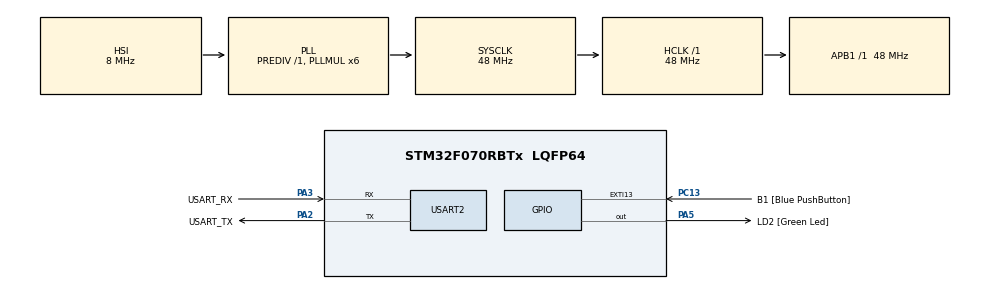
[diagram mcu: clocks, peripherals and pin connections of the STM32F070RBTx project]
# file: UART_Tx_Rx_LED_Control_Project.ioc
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Mcu.Family=STM32F0
Mcu.Name=STM32F070RBTx
Mcu.Package=LQFP64
NVIC.USART2_IRQn=true\:0\:0\:false\:false\:true\:true\:true\:true
PA13.GPIO_Label=TMS
PA13.Mode=Serial_Wire
PA13.Signal=SYS_SWDIO
PA14.GPIO_Label=TCK
PA14.Mode=Serial_Wire
PA14.Signal=SYS_SWCLK
PA2.GPIO_Label=USART_TX
PA2.Mode=Asynchronous
PA2.Signal=USART2_TX
PA3.GPIO_Label=USART_RX
PA3.Mode=Asynchronous
PA3.Signal=USART2_RX
PA5.GPIO_Label=LD2 [Green Led]
PA5.Signal=GPIO_Output
PC13.GPIO_Label=B1 [Blue PushButton]
PC13.GPIO_ModeDefaultEXTI=GPIO_MODE_IT_FALLING
PC13.Signal=GPXTI13
PC14-OSC32_IN.GPIO_Label=RCC_OSC32_IN
PC14-OSC32_IN.Mode=LSE-External-Oscillator
PC14-OSC32_IN.Signal=RCC_OSC32_IN
PC15-OSC32_OUT.GPIO_Label=RCC_OSC32_OUT
PC15-OSC32_OUT.Mode=LSE-External-Oscillator
PC15-OSC32_OUT.Signal=RCC_OSC32_OUT
PF0-OSC_IN.GPIO_Label=RCC_OSC_IN
PF0-OSC_IN.Mode=HSE-External-Clock-Source
PF0-OSC_IN.Signal=RCC_OSC_IN
PF1-OSC_OUT.GPIO_Label=RCC_OSC_OUT
PF1-OSC_OUT.Signal=RCC_OSC_OUT
ProjectManager.HeapSize=0x200
ProjectManager.StackSize=0x400
ProjectManager.TargetToolchain=STM32CubeIDE
RCC.AHBFreq_Value=48000000
RCC.APB1Freq_Value=48000000
RCC.APB1TimFreq_Value=48000000
RCC.HCLKFreq_Value=48000000
RCC.PLLMUL=RCC_PLL_MUL6
RCC.SYSCLKFreq_VALUE=48000000
RCC.SYSCLKSource=RCC_SYSCLKSOURCE_PLLCLK
USART2.VirtualMode-Asynchronous=VM_ASYNC
board=NUCLEO-F070RB

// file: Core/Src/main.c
/* USER CODE BEGIN Header */
/**
  ******************************************************************************
  * @file           : main.c
  * @brief          : Main program body
  ******************************************************************************
  * @attention
  *
  * Copyright (c) 2024 STMicroelectronics.
  * All rights reserved.
  *
  * This software is licensed under terms that can be found in the LICENSE file
  * in the root directory of this software component.
  * If no LICENSE file comes with this software, it is provided AS-IS.
  *
  ******************************************************************************
  */
/* USER CODE END Header */
#include "main.h"

/* USER CODE BEGIN Includes */
#include <string.h>

/* USER CODE END Includes */

/* USER CODE BEGIN PD */
uint8_t tx_buffer[30]="Hi idiot\n\r";
uint8_t rx_index;
uint8_t rx_data[1];
uint8_t rx_buffer[100]={0};
/* USER CODE END PD */

UART_HandleTypeDef huart2;

void SystemClock_Config(void);
static void MX_GPIO_Init(void);
static void MX_USART2_UART_Init(void);

int main(void)
{

  /* MCU Configuration--------------------------------------------------------*/

  /* Reset of all peripherals, Initializes the Flash interface and the Systick. */
  HAL_Init();

  /* Configure the system clock */
  SystemClock_Config();

  /* Initialize all configured peripherals */
  MX_GPIO_Init();
  MX_USART2_UART_Init();
  /* USER CODE BEGIN 2 */
  HAL_UART_Receive_IT(&huart2,rx_data,1);

  /* USER CODE END 2 */

  /* Infinite loop */
  while (1)
  {
//	  HAL_UART_Transmit(&huart2, tx_buffer, sizeof(tx_buffer),10);
//	  HAL_Delay(1000);

  }
}

void SystemClock_Config(void)
{
  RCC_OscInitTypeDef RCC_OscInitStruct = {0};
  RCC_ClkInitTypeDef RCC_ClkInitStruct = {0};

  /** Initializes the RCC Oscillators according to the specified parameters
  * in the RCC_OscInitTypeDef structure.
  */
  RCC_OscInitStruct.OscillatorType = RCC_OSCILLATORTYPE_HSI;
  RCC_OscInitStruct.HSIState = RCC_HSI_ON;
  RCC_OscInitStruct.HSICalibrationValue = RCC_HSICALIBRATION_DEFAULT;
  RCC_OscInitStruct.PLL.PLLState = RCC_PLL_ON;
  RCC_OscInitStruct.PLL.PLLSource = RCC_PLLSOURCE_HSI;
  RCC_OscInitStruct.PLL.PLLMUL = RCC_PLL_MUL6;
  RCC_OscInitStruct.PLL.PREDIV = RCC_PREDIV_DIV1;
  if (HAL_RCC_OscConfig(&RCC_OscInitStruct) != HAL_OK)
  {
    Error_Handler();
  }

  /** Initializes the CPU, AHB and APB buses clocks
  */
  RCC_ClkInitStruct.ClockType = RCC_CLOCKTYPE_HCLK|RCC_CLOCKTYPE_SYSCLK
                              |RCC_CLOCKTYPE_PCLK1;
  RCC_ClkInitStruct.SYSCLKSource = RCC_SYSCLKSOURCE_PLLCLK;
  RCC_ClkInitStruct.AHBCLKDivider = RCC_SYSCLK_DIV1;
  RCC_ClkInitStruct.APB1CLKDivider = RCC_HCLK_DIV1;

  if (HAL_RCC_ClockConfig(&RCC_ClkInitStruct, FLASH_LATENCY_1) != HAL_OK)
  {
    Error_Handler();
  }
}

static void MX_USART2_UART_Init(void)
{

  huart2.Instance = USART2;
  huart2.Init.BaudRate = 38400;
  huart2.Init.WordLength = UART_WORDLENGTH_8B;
  huart2.Init.StopBits = UART_STOPBITS_1;
  huart2.Init.Parity = UART_PARITY_NONE;
  huart2.Init.Mode = UART_MODE_TX_RX;
  huart2.Init.HwFlowCtl = UART_HWCONTROL_NONE;
  huart2.Init.OverSampling = UART_OVERSAMPLING_16;
  huart2.Init.OneBitSampling = UART_ONE_BIT_SAMPLE_DISABLE;
  huart2.AdvancedInit.AdvFeatureInit = UART_ADVFEATURE_NO_INIT;
  if (HAL_UART_Init(&huart2) != HAL_OK)
  {
    Error_Handler();
  }

}

static void MX_GPIO_Init(void)
{
  GPIO_InitTypeDef GPIO_InitStruct = {0};

  /* GPIO Ports Clock Enable */
  __HAL_RCC_GPIOC_CLK_ENABLE();
  __HAL_RCC_GPIOF_CLK_ENABLE();
  __HAL_RCC_GPIOA_CLK_ENABLE();

  /*Configure GPIO pin Output Level */
  HAL_GPIO_WritePin(LD2_GPIO_Port, LD2_Pin, GPIO_PIN_RESET);

  /*Configure GPIO pin : B1_Pin */
  GPIO_InitStruct.Pin = B1_Pin;
  GPIO_InitStruct.Mode = GPIO_MODE_IT_FALLING;
  GPIO_InitStruct.Pull = GPIO_NOPULL;
  HAL_GPIO_Init(B1_GPIO_Port, &GPIO_InitStruct);

  /*Configure GPIO pin : LD2_Pin */
  GPIO_InitStruct.Pin = LD2_Pin;
  GPIO_InitStruct.Mode = GPIO_MODE_OUTPUT_PP;
  GPIO_InitStruct.Pull = GPIO_NOPULL;
  GPIO_InitStruct.Speed = GPIO_SPEED_FREQ_LOW;
  HAL_GPIO_Init(LD2_GPIO_Port, &GPIO_InitStruct);

}

/* USER CODE BEGIN 4 */
void HAL_UART_RxCpltCallback(UART_HandleTypeDef *huart)
{
  /* Prevent unused argument(s) compilation warning */
  UNUSED(huart);

  /* NOTE : This function should not be modified, when the callback is needed,
            the HAL_UART_RxCpltCallback can be implemented in the user file.
   */
//  HAL_UART_Transmit(&huart2, rx_data, 10, 10);
  if(huart->Instance==USART2)
  {
	  if(rx_index>=100-1)// Check for buffer overflow
	  {
//		  HAL_GPIO_WritePin(GPIOA, GPIO_PIN_5, GPIO_PIN_RESET);
		  rx_index=0;
	  }
	  if(rx_data[0]!='\r')// Check if the received character is not Carriage Return
	  {
		  rx_buffer[rx_index++]=rx_data[0];
	  }
	  else
	  {
          rx_buffer[rx_index] = '\0'; // Null-terminate the string

          if(strcmp((char*)rx_buffer, "LED ON") == 0)
          {
              HAL_GPIO_WritePin(GPIOA, GPIO_PIN_5, GPIO_PIN_SET); // Turn LED ON
          }
          else if(strcmp((char*)rx_buffer, "LED OFF") == 0)
          {
              HAL_GPIO_WritePin(GPIOA, GPIO_PIN_5, GPIO_PIN_RESET); // Turn LED OFF
          }

          // Reset index and buffer for the next command
          rx_index = 0;
          memset(rx_buffer, 0, sizeof(rx_buffer)); // Clear buffer

          // Acknowledge the command (Optional)
          HAL_UART_Transmit(&huart2, (uint8_t*)"\n\rCommand received\r\n", 22, 100);

	  }
	  HAL_UART_Receive_IT(&huart2, rx_data,1);
	  HAL_UART_Transmit(&huart2, rx_data, sizeof(rx_data),100);
  }
}

/* USER CODE END 4 */

void Error_Handler(void)
{
  __disable_irq();
  while (1)
  {
  }
}
